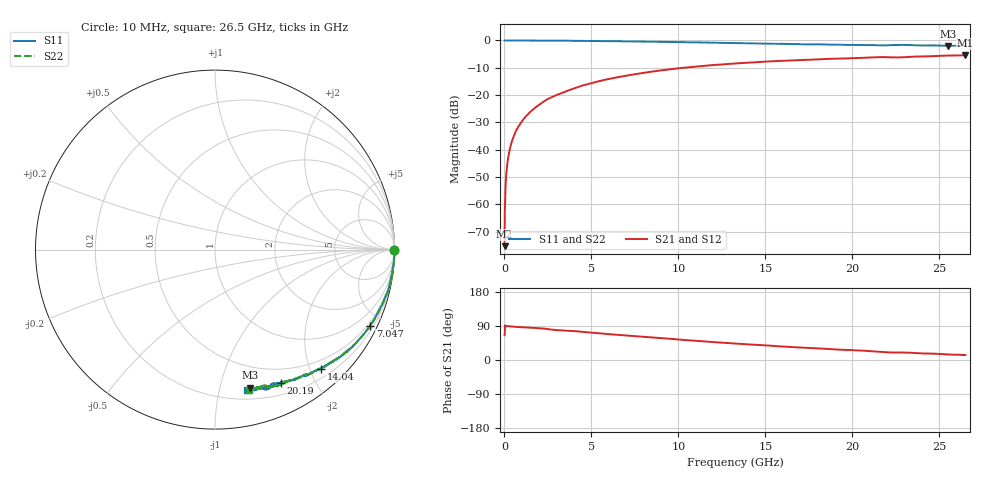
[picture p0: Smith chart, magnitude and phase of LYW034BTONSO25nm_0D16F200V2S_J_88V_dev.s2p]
!Keysight Technologies,N5222B,MY61253708,A.15.00.15
!Date: Wednesday, June 19, 2024 09:29:58
!Correction: S11(C  2-Port  )
!S21(C  2-Port  )
!S12(C  2-Port  )
!S22(C  2-Port  )
!S2P File: Measurements: S11, S21, S12, S22:
# Hz S  RI  R 50
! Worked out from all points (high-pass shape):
!   2651 points, 10 MHz to 26.5 GHz, reference 50 ohm
!   highest |S21| = -5.37 dB at 26.5 GHz (marker M1); lowest = -75.3 dB at 10 MHz (marker M2)
!   |S21| within 3 dB of the highest: 13.39 GHz to end of sweep
!   lowest |S11| = -2.0 dB at 25.5 GHz (marker M3), VSWR 8.66, Z = 15 - j62.1 ohm
!   |S11| at or under -10 dB: nowhere
!   |S22| runs from -1.9 to 0.0 dB; largest |S21 - S12| = 0.007
!   S11 on the Smith chart (normalised r, x): 10 MHz: open; 7.047 GHz: 0.37, -4.28; 14.04 GHz: 0.35, -2.18; 20.19 GHz: 0.33, -1.56; 26.5 GHz: 0.28, -1.21
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1e7  0.9988 -0.00276  7.14e-05 0.000157  -0.000125 9.58e-05  0.9986 -0.000911
7.997358e7  0.9999 -0.00576  3.65e-05 0.0027  1.79e-05 0.00268  0.9994 -0.00527
1.499472e8  0.9999 -0.011  6.06e-05 0.00503  4.92e-05 0.00505  0.9995 -0.0103
1.799358e8  0.9999 -0.0123  9.75e-05 0.00603  8.26e-05 0.00609  0.9996 -0.0116
2.29917e8  0.9995 -0.0162  0.000145 0.00767  0.000124 0.00774  0.9992 -0.0152
3.19883e8  0.9994 -0.0218  0.000235 0.0107  0.000249 0.0107  0.9993 -0.0207
4.49834e8  0.9991 -0.0309  0.000457 0.015  0.000454 0.0151  0.9989 -0.0299
5.997774e8  0.9987 -0.0406  0.000815 0.02  0.000768 0.0201  0.9989 -0.0398
7.897057e8  0.9982 -0.0533  0.00135 0.0262  0.00138 0.0264  0.9976 -0.0524
1.419468e9  0.9904 -0.097  0.00336 0.047  0.00347 0.0473  0.9932 -0.0932
2.319128e9  0.9814 -0.1524  0.00999 0.0779  0.0103 0.0785  0.9828 -0.1525
3.138819e9  0.9703 -0.2051  0.0207 0.1027  0.0209 0.1034  0.9716 -0.2031
4.428332e9  0.9412 -0.2827  0.0391 0.1426  0.0396 0.1436  0.9434 -0.279
7.047343e9  0.8643 -0.4235  0.098 0.2057  0.0996 0.2065  0.867 -0.4206
8.846664e9  0.7992 -0.5046  0.1469 0.2376  0.1486 0.2383  0.8021 -0.5017
1.3255e10  0.6216 -0.6435  0.2748 0.2609  0.2775 0.2605  0.6275 -0.641
1.40447e10  0.5901 -0.6637  0.2959 0.2585  0.2978 0.258  0.5963 -0.6563
1.767333e10  0.4489 -0.7207  0.3807 0.2321  0.3846 0.2302  0.462 -0.7179
2.019238e10  0.3677 -0.7421  0.4287 0.2058  0.4319 0.2021  0.3841 -0.7402
2.209166e10  0.3142 -0.7519  0.4628 0.1696  0.4649 0.1663  0.3109 -0.7586
2.550038e10  0.196 -0.7685  0.5113 0.1327  0.5129 0.132  0.2185 -0.7726
2.65e10  0.1769 -0.7828  0.5247 0.1217  0.5243 0.1173  0.192 -0.7822
